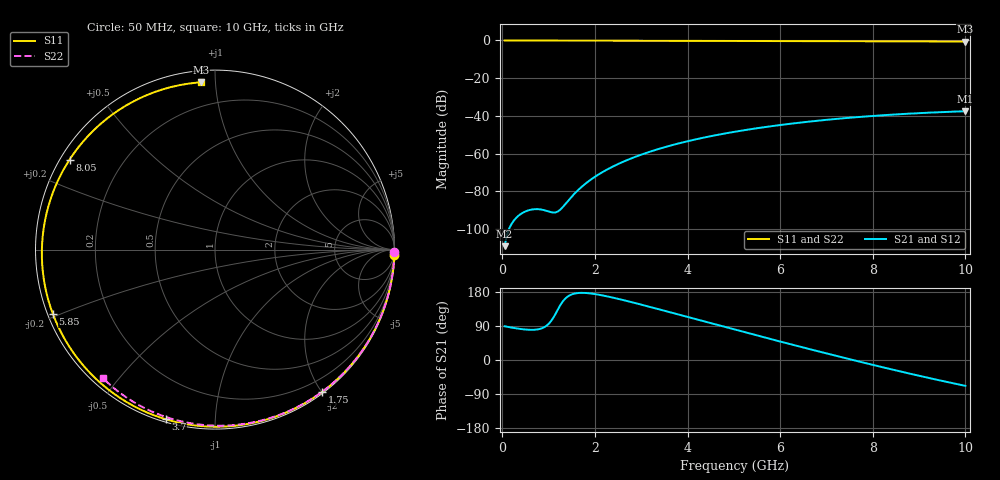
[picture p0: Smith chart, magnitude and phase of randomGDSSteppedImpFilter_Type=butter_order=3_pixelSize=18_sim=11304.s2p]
! freq	dB(S11)	phase(S11)	dB(S12)	phase(S12)
!  dB(S21)	phase(S21)	dB(S22)	phase(S22)
!S-par simulation data
#  GHz  S  DB  R 50
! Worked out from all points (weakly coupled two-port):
!   200 points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, 50 MHz to 10 GHz, reference 50 ohm
!   highest |S21| = -37.56 dB at 10 GHz (marker M1); lowest = -109.2 dB at 50 MHz (marker M2)
!   lowest |S11| = -0.6 dB at 10 GHz (marker M3), VSWR 29.90, Z = 3.08 + j45.9 ohm
!   |S11| at or under -10 dB: nowhere
!   |S22| runs from -0.4 to 0.0 dB; largest |S21 - S12| = 0
!   S11 on the Smith chart (normalised r, x): 50 MHz: 0, -73; 1.75 GHz: 0.02, -2.00; 3.7 GHz: 0.01, -0.75; 5.85 GHz: 0.01, -0.19; 8.05 GHz: 0.03, +0.28; 10 GHz: 0.06, +0.92
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0.05  -0.00 -1.6  -109.18 89.0  -109.18 89.0  -0.00 -0.8
0.4  -0.02 -12.4  -92.08 81.8  -92.08 81.8  -0.01 -6.0
0.8  -0.03 -24.7  -89.60 81.7  -89.60 81.7  -0.02 -12.0
1.2  -0.05 -36.9  -90.76 133.3  -90.76 133.3  -0.02 -18.0
1.6  -0.06 -48.8  -80.28 176.2  -80.28 176.2  -0.03 -23.9
1.75  -0.07 -53.1  -76.92 177.1  -76.92 177.1  -0.03 -26.1
2.05  -0.08 -61.8  -71.56 173.0  -71.56 173.0  -0.04 -30.5
2.45  -0.09 -73.0  -66.17 162.9  -66.17 162.9  -0.05 -36.3
2.9  -0.11 -85.3  -61.50 149.3  -61.50 149.3  -0.06 -42.7
3.4  -0.12 -98.5  -57.41 133.2  -57.41 133.2  -0.07 -49.8
3.7  -0.14 -106.2  -55.33 123.4  -55.33 123.4  -0.07 -53.9
4.35  -0.16 -122.4  -51.57 102.1  -51.57 102.1  -0.09 -62.8
5.05  -0.20 -139.3  -48.33 79.2  -48.33 79.2  -0.11 -72.0
5.85  -0.25 -158.3  -45.37 53.5  -45.37 53.5  -0.14 -82.3
6.7  -0.31 -178.4  -42.88 26.7  -42.88 26.7  -0.18 -92.9
7.4  -0.36 164.6  -41.23 5.2  -41.23 5.2  -0.22 -101.3
8.05  -0.42 148.3  -39.98 -14.3  -39.98 -14.3  -0.26 -108.9
8.35  -0.45 140.5  -39.48 -23.1  -39.48 -23.1  -0.29 -112.4
8.8  -0.48 128.6  -38.83 -36.0  -38.83 -36.0  -0.32 -117.6
9.25  -0.52 116.2  -38.28 -48.5  -38.28 -48.5  -0.37 -122.7
9.65  -0.55 104.9  -37.87 -59.2  -37.87 -59.2  -0.41 -127.2
10  -0.58 94.8  -37.56 -68.2  -37.56 -68.2  -0.44 -131.1
